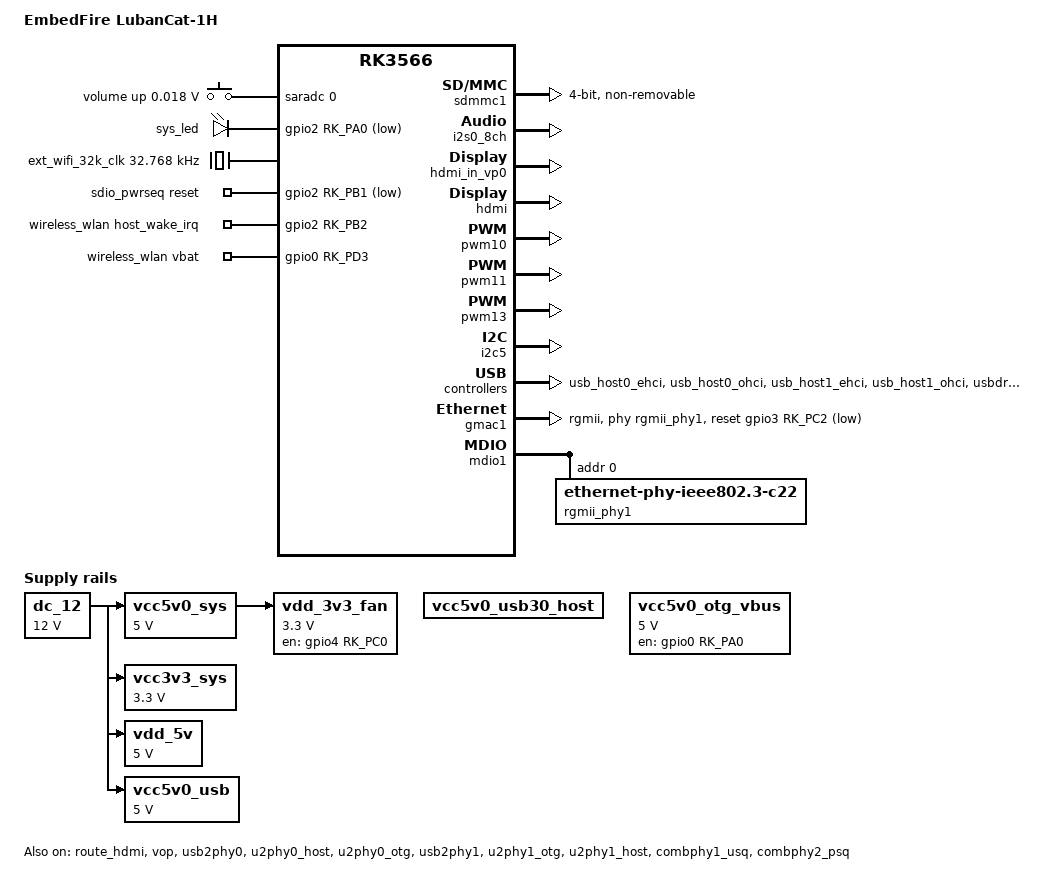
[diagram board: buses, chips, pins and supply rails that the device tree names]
// SPDX-License-Identifier: (GPL-2.0+ OR MIT)
/*
* Copyright (c) 2020 Rockchip Electronics Co., Ltd.
*
*/

/dts-v1/;

#include <dt-bindings/gpio/gpio.h>
#include <dt-bindings/pwm/pwm.h>
#include <dt-bindings/pinctrl/rockchip.h>
//#include <dt-bindings/input/rk-input.h>
#include <dt-bindings/input/linux-event-codes.h>
#include <dt-bindings/display/drm_mipi_dsi.h>
#include <dt-bindings/display/rockchip_vop.h>
#include <dt-bindings/sensor-dev.h>
#include <dt-bindings/phy/jlsemi-dt-phy.h>
#include "rk3566.dtsi"
#include "rk3566-lubancat.dtsi"

//HDMI输出
// #include "rk3566-lubancat-hdmi.dtsi"

// //MIPI摄像头配置
// #include "rk3568-lubancat-csi2-double.dtsi"

//LVDS屏幕配置
//#include "rk3566-lubancat-1h-gm8775c-lvds-800x1280.dtsi"

/ {
	model = "EmbedFire LubanCat-1H";
	compatible = "embedfire,lubancat-1h", "rockchip,rk3566";
	
	adc-keys {
		compatible = "adc-keys";
		io-channels = <&saradc 0>;
		io-channel-names = "buttons";
		poll-interval = <20>;
		keyup-threshold-microvolt = <1800000>;
		
		vol-up-key {
			linux,code = <KEY_VOLUMEUP>;
			label = "volume up";
			press-threshold-microvolt = <18000>;
		};
	};

	leds: leds {
		status = "okay";
		compatible = "gpio-leds";

		sys_led: sys-led {
			label = "sys_led";
			linux,default-trigger = "heartbeat";
			default-state = "on";
			gpios = <&gpio2 RK_PA0 GPIO_ACTIVE_LOW>;
			pinctrl-names = "default";
			pinctrl-0 = <&sys_led_pin>;
		};
	};
	
	dc_12: dc-12v {
		compatible = "regulator-fixed";
		regulator-name = "dc_12v";
		regulator-always-on;
		regulator-boot-on;
		regulator-min-microvolt = <12000000>;
		regulator-max-microvolt = <12000000>;
	};
	
	vcc5v0_sys: vcc5v0-sys {
		compatible = "regulator-fixed";
		regulator-name = "vcc5v0_sys";
		regulator-always-on;
		regulator-boot-on;
		regulator-min-microvolt = <5000000>;
		regulator-max-microvolt = <5000000>;
		vin-supply = <&dc_12>;
	};
	
	vcc3v3_sys: vcc3v3-sys {
		compatible = "regulator-fixed";
		regulator-name = "vcc3v3_sys";
		regulator-always-on;
		regulator-boot-on;
		regulator-min-microvolt = <3300000>;
		regulator-max-microvolt = <3300000>;
		vin-supply = <&dc_12>;
	};

	vdd_3v3_fan:vdd-3v3-fan {
		compatible = "regulator-fixed";
		regulator-name = "vdd-3v3-fan";
		regulator-min-microvolt = <3300000>;
		regulator-max-microvolt = <3300000>;
		enable-active-high;
		regulator-boot-on;
		regulator-always-on;
		gpio = <&gpio4 RK_PC0 GPIO_ACTIVE_HIGH>;
		vin-supply = <&vcc5v0_sys>;
		pinctrl-names = "default";
		pinctrl-0 = <&vdd_3v3_fan_en>;
	};
	
	vdd_5v: vdd-5v {
		compatible = "regulator-fixed";
		regulator-name = "vdd_5v";
		regulator-always-on;
		regulator-boot-on;
		regulator-min-microvolt = <5000000>;
		regulator-max-microvolt = <5000000>;
		vin-supply = <&dc_12>;
	};
	
	vcc5v0_usb: vcc5v0-usb {
		compatible = "regulator-fixed";
		regulator-name = "vcc5v0_usb";
		regulator-always-on;
		regulator-boot-on;
		regulator-min-microvolt = <5000000>;
		regulator-max-microvolt = <5000000>;
		vin-supply = <&dc_12>;
	};
	
	vcc5v0_usb30_host: vcc5v0-usb30-host-regulator {
		compatible = "regulator-fixed";
		enable-active-high;
		// gpio = <&gpio3 RK_PC6 GPIO_ACTIVE_HIGH>;
		// pinctrl-names = "default";
		// pinctrl-0 = <&vcc5v0_usb30_host_en>;
		regulator-name = "vcc5v0_usb30_host";
		regulator-always-on;
	};
	
	vcc5v0_otg_vbus: vcc5v0-otg-vbus-regulator {
		compatible = "regulator-fixed";
		enable-active-high;
		regulator-min-microvolt = <5000000>;
		regulator-max-microvolt = <5000000>;
		gpio = <&gpio0 RK_PA0 GPIO_ACTIVE_HIGH>;
		pinctrl-names = "default";
		pinctrl-0 = <&vcc5v0_otg_vbus_en>;
		regulator-name = "vcc5v0_otg_vbus";
	};
	
	// rk809_sound: rk809-sound {
	// 	status = "okay";
	// 	compatible = "rockchip,multicodecs-card";
	// 	rockchip,card-name = "rockchip-rk809";
	// 	hp-det-gpio = <&gpio1 RK_PB0 GPIO_ACTIVE_HIGH>;
	// 	rockchip,format = "i2s";
	// 	rockchip,mclk-fs = <256>;
	// 	rockchip,cpu = <&i2s1_8ch>;
	// 	rockchip,codec = <&rk809_codec>;
	// 	pinctrl-names = "default";
	// 	pinctrl-0 = <&hp_det>;
	// };
	
	ext_wifi_32k_clk: external-32k-clock {
		compatible = "fixed-clock";
		#clock-cells = <0>;
		clock-frequency = <32768>;
		clock-output-names = "ext_wifi_32k_clk";
	};
	
	sdio_pwrseq: sdio-pwrseq {
		compatible = "mmc-pwrseq-simple";
		clocks = <&ext_wifi_32k_clk>;
		clock-names = "ext_clock";
		pinctrl-names = "default";
		pinctrl-0 = <&wifi_enable_h>;
		
		/*
		* On the module itself this is one of these (depending
		* on the actual card populated):
		* - SDIO_RESET_L_WL_REG_ON
		* - PDN (power down when low)
		*/
		reset-gpios = <&gpio2 RK_PB1 GPIO_ACTIVE_LOW>;
	};
	
	wireless_wlan: wireless-wlan {
		compatible = "wlan-platdata";
		rockchip,grf = <&grf>;
		wifi_chip_type = "ap6255";
		pinctrl-names = "default";
		pinctrl-0 = <&wifi_host_wake_irq>;
		WIFI,host_wake_irq = <&gpio2 RK_PB2 GPIO_ACTIVE_HIGH>;
		WIFI,vbat_gpio = <&gpio0 RK_PD3 GPIO_ACTIVE_HIGH>;
		status = "okay";
	};

	hdmi_sound: hdmi-sound {
		compatible = "simple-audio-card";
		simple-audio-card,format = "i2s";
		simple-audio-card,mclk-fs = <128>;
		simple-audio-card,name = "rockchip,hdmi";
		status = "okay";

		simple-audio-card,cpu {
			sound-dai = <&i2s0_8ch>;
		};

		simple-audio-card,codec {
			sound-dai = <&hdmi>;
		};
	};
};


&sdmmc0{
	status = "disabled";
};
&sdmmc1 {
	max-frequency = <150000000>;
	supports-sdio;
	bus-width = <4>;
	disable-wp;
	cap-sd-highspeed;
	cap-sdio-irq;
	keep-power-in-suspend;
	pinctrl-names = "default";
	pinctrl-0 = <&sdmmc1_bus4 &sdmmc1_cmd &sdmmc1_clk>;
	sd-uhs-sdr104;
	mmc-pwrseq = <&sdio_pwrseq>;
	non-removable;
	status = "okay";
};



&i2s0_8ch {
	status = "okay";
};

&route_hdmi {
	status = "okay";
	connect = <&vp0_out_hdmi>;
};

&hdmi_in_vp0 {
	status = "okay";
};

&hdmi_in_vp1 {
	status = "disabled";
};

&hdmi {
	status = "okay";
};


// &i2s1_8ch {
// 	status = "okay";
// 	rockchip,trcm-sync-tx-only;
// 	pinctrl-names = "default";
// 	pinctrl-0 = <&i2s1m0_sclktx
// 	&i2s1m0_lrcktx
// 	&i2s1m0_sdi0
// 	&i2s1m0_sdo0>;
// };

&pwm10 {
	status = "okay";
};

&pwm11 {
	status = "okay";
	pinctrl-names = "active";
	pinctrl-0 = <&pwm11m1_pins>;
};

&pwm13 {
	status = "okay";
};

&xin32k {
	status = "disabled";
};

// &i2c0 {
// 	status = "okay";
// 	rk809: pmic@20 {
// 		rk809_codec: codec {
// 			pinctrl-names = "default", "spk_gpio";
// 			pinctrl-0 = <&i2s1m0_mclk>;
// 			pinctrl-1 = <&spk_ctl_gpio>;
// 			spk-ctl-gpios = <&gpio1 RK_PB1 GPIO_ACTIVE_HIGH>;
// 			status = "okay";
// 		};
		
// 		rk809_rtc:rtc{
// 			status = "disabled";
// 		};
// 	};
	
// 	hym8563: hym8563@51 {
// 		compatible = "haoyu,hym8563";
// 		status = "okay";
// 		reg = <0x51>;
// 		#clock-cells = <0>;
// 		clock-frequency = <32768>;
// 		clock-output-names = "hym8563";
// 		rtc-irq-gpio = <&gpio0 RK_PA6 IRQ_TYPE_EDGE_FALLING>;
// 	};
// };

// &dsi1 {
// 	status = "disabled";
// 	power-supply = <&mipi_dsi1_power>;
// 	#address-cells = <1>;
// 	#size-cells = <0>;
	
// 	dsi1_panel: panel@0 {
// 		status = "disabled";
// 		compatible = "simple-panel-dsi";
// 		reg = <0x0>;
// 		backlight = <&backlight0>;
// 		reset-gpios = <&gpio3 RK_PA7 GPIO_ACTIVE_LOW>;
		
// 		ports {
// 			#address-cells = <1>;
// 			#size-cells = <0>;
// 			port@0 {
// 				reg = <0>;
// 				panel_in_dsi1: endpoint {
// 					remote-endpoint = <&dsi1_out_panel>;
// 				};
// 			};
// 		};
// 	};
	
// 	ports {
// 		#address-cells = <1>;
// 		#size-cells = <0>;
		
// 		port@1 {
// 			reg = <1>;
// 			dsi1_out_panel: endpoint {
// 				remote-endpoint = <&panel_in_dsi1>;
// 			};
// 		};
// 	};
// };

// &i2c5 {
// 	status = "okay";
// 	clock-frequency = <100000>;
	
// 	gt911_edp: gt911@5d {
// 		status = "okay";
// 		compatible = "goodix,gt911";
// 		reg = <0x5d>;
// 		interrupt-parent = <&gpio3>;
// 		interrupts = <RK_PB7 IRQ_TYPE_LEVEL_LOW>;
// 		reset-gpios = <&gpio3 RK_PC1 GPIO_ACTIVE_LOW>;
// 		irq-gpios = <&gpio3 RK_PB7 GPIO_ACTIVE_HIGH>;
// 	};
// };

// &uart0 {
// 	status = "okay";
// };

// &uart3 {
// 	status = "okay";
// };

// &uart4 {
// 	status = "okay";
// 	pinctrl-names = "default";
// 	pinctrl-0 = <&uart4m1_xfer>;
// };

// &uart5 {
// 	status = "okay";
// 	pinctrl-names = "default";
// 	pinctrl-0 = <&uart5m1_xfer>;
// };

// &uart7 {
// 	status = "okay";
// 	pinctrl-names = "default";
// 	pinctrl-0 = <&uart7m1_xfer>;
// };

// &uart9 {
// 	status = "okay";
// 	pinctrl-names = "default";
// 	pinctrl-0 = <&uart9m1_xfer>;
// };

// &i2c1 {
// 	status = "okay";
// 	clock-frequency = <100000>;
	
// 	gt911_dsi1: gt911@5d {
// 		status = "disabled";
// 		compatible = "goodix,gt911";
// 		reg = <0x5d>;
// 		interrupt-parent = <&gpio3>;
// 		interrupts = <RK_PA6 IRQ_TYPE_LEVEL_LOW>;
// 		reset-gpios = <&gpio3 RK_PA5 GPIO_ACTIVE_LOW>;
// 		irq-gpios = <&gpio3 RK_PA6 GPIO_ACTIVE_HIGH>;
// 		touchscreen-inverted-x = <1>;
// 		touchscreen-inverted-y = <1>;
// 	};
	
// 	gt928_dsi1: gt928@5d {
// 		status = "disabled";
// 		compatible = "goodix,gt928";
// 		reg = <0x5d>;
// 		interrupt-parent = <&gpio3>;
// 		interrupts = <RK_PA6 IRQ_TYPE_LEVEL_LOW>;
// 		reset-gpios = <&gpio3 RK_PA5 GPIO_ACTIVE_LOW>;
// 		irq-gpios = <&gpio3 RK_PA6 GPIO_ACTIVE_HIGH>;
// 	};
	
// 	rockpi_mcu_1: rockpi-mcu-1@45 {
// 		compatible = "rockpi_mcu";
// 		reg = <0x45>;
// 		status = "disabled";
// 	};
	
// 	rockpi_ft5406_1: rockpi_ft5406-1@38 {
// 		compatible = "rockpi_ft5406";
// 		reg = <0x38>;
// 		status = "disabled";
// 	};
// };

// //cam0-gpio-setting
// &ov8858 {
// 	pwdn-gpios = <&gpio3 RK_PA1 GPIO_ACTIVE_HIGH>;
// 	reset-gpios = <&gpio3 RK_PA2 GPIO_ACTIVE_HIGH>;
// };

// &imx415 {
// 	pwdn-gpios = <&gpio3 RK_PA1 GPIO_ACTIVE_HIGH>;
// 	reset-gpios = <&gpio3 RK_PA2 GPIO_ACTIVE_LOW>;
// };

// &gc08a8 {
// 	pwdn-gpios = <&gpio3 RK_PA1 GPIO_ACTIVE_HIGH>;
// 	reset-gpios = <&gpio3 RK_PA2 GPIO_ACTIVE_LOW>;
// };

// &gc2053 {
// 	pwdn-gpios = <&gpio3 RK_PA1 GPIO_ACTIVE_LOW>;
// 	reset-gpios = <&gpio3 RK_PA2 GPIO_ACTIVE_LOW>;
// };

// &gc4653 {
// 	pwdn-gpios = <&gpio3 RK_PA1 GPIO_ACTIVE_HIGH>;
// 	reset-gpios = <&gpio3 RK_PA2 GPIO_ACTIVE_HIGH>;
// };

// //cam1-gpio-setting
// &cam1_ov8858 {
// 	pwdn-gpios = <&gpio3 RK_PA3 GPIO_ACTIVE_HIGH>;
// 	reset-gpios = <&gpio3 RK_PA4 GPIO_ACTIVE_HIGH>;
// };

&i2c5{
	pinctrl-names = "default";
	pinctrl-0 = <&i2c5m0_xfer>;
	status = "okay";
};

&i2s0_8ch {
	status = "okay";
};

&pmu_io_domains {
	status = "okay";
	pmuio2-supply = <&vcc3v3_pmu>;
	vccio1-supply = <&vccio_acodec>;
	vccio3-supply = <&vccio_sd>;
	vccio4-supply = <&vcc_1v8>;
	vccio5-supply = <&vcc_3v3>;
	vccio6-supply = <&vcc_1v8>;
	vccio7-supply = <&vcc_1v8>;
};

&vop {
	status = "okay";
	assigned-clocks = <&cru DCLK_VOP0>, <&cru DCLK_VOP1>;
	assigned-clock-parents = <&pmucru PLL_HPLL>, <&cru PLL_VPLL>;
};

&vop_mmu {
	status = "okay";
};

/* USB OTG/USB Host_1 USB 2.0 Comb */
&usb2phy0 {
	status = "okay";
};

&u2phy0_host {
	phy-supply = <&vcc5v0_usb30_host>;
	status = "okay";
};

&u2phy0_otg {
	vbus-supply = <&vcc5v0_otg_vbus>;
	status = "okay";
};

&usb_host0_ehci {
	status = "okay";
};

&usb_host0_ohci {
	status = "okay";
};

/* USB Host_2/USB Host_3 USB 2.0 Comb */
&usb2phy1 {
	status = "okay";
};

&u2phy1_otg {
	phy-supply = <&vcc5v0_usb>;
	status = "okay";
};

&u2phy1_host {
	phy-supply = <&vcc5v0_usb>;
	status = "okay";
};

&usb_host1_ehci {
	status = "okay";
};

&usb_host1_ohci {
	status = "okay";
};

/* USB3.0 OTG Only USB2.0 */
&usbdrd30 {
	status = "okay";
};

&usbdrd_dwc3 {
	status = "okay";
};

/* USB3.0 Host */
&combphy1_usq {
	status = "okay";
};

&usbhost30 {
	status = "okay";
};

&usbhost_dwc3 {
	status = "okay";
};

&gmac1 {
	phy-mode = "rgmii";
	clock_in_out = "output";
	
	snps,reset-gpio = <&gpio3 RK_PC2 GPIO_ACTIVE_LOW>;
	snps,reset-active-low;
	/* Reset time is 75ms, 100ms */
	snps,reset-delays-us = <0 75000 100000>;
	
	assigned-clocks = <&cru SCLK_GMAC1_RX_TX>, <&cru SCLK_GMAC1>;
	assigned-clock-parents = <&cru SCLK_GMAC1_RGMII_SPEED>, <&cru CLK_MAC1_2TOP>;
	assigned-clock-rates = <0>, <125000000>;
	
	pinctrl-names = "default";
	pinctrl-0 = <&gmac1m1_miim
	&gmac1m1_tx_bus2
	&gmac1m1_rx_bus2
	&gmac1m1_rgmii_clk
	&gmac1m1_rgmii_bus>;
	
	/* RTL8211F */
	tx_delay = <0x4f>;
	rx_delay = <0x25>;
	
	/* JL2101 */
	// tx_delay = <0x22>;
	// rx_delay = <0x07>;
	
	phy-handle = <&rgmii_phy1>;
	status = "okay";
};

&mdio1 {
	rgmii_phy1: phy@0 {
		compatible = "ethernet-phy-ieee802.3-c22";
		reg = <0x0>;
		// jl2xxx,led-enable = <(JL2XXX_LED_STATIC_OP_EN | JL1XXX_LED_MODE_EN)>;
		// jl2xxx,led-mode = <(JL2XXX_LED1_LINK10  | \
		// JL2XXX_LED1_LINK100  | \
		// JL2XXX_LED1_LINK1000 | \
		// JL2XXX_LED2_LINK10   | \
		// JL2XXX_LED2_LINK100  | \
		// JL2XXX_LED2_LINK1000 | \
		// JL2XXX_LED2_ACTIVITY )>;
	};
};

// /* mini pcie */
// &pcie2x1 {
// 	reset-gpios = <&gpio0 RK_PB6 GPIO_ACTIVE_HIGH>;
// 	disable-gpios = <&gpio0 RK_PB2 GPIO_ACTIVE_HIGH>;
// 	vpcie3v3-supply = <&mini_pcie_3v3>;
// 	status = "okay";
// };

&combphy2_psq {
	status = "okay";
};

&rockchip_suspend {
	status = "okay";
};

&pinctrl {
	
	// cam {
	// 	cam_pwr_en: cam_pwr_en {
	// 		rockchip,pins = <3 RK_PD2 RK_FUNC_GPIO &pcfg_pull_none>;
	// 	};
		
	// 	cam1_pwr_en: cam1_pwr_en {
	// 		rockchip,pins = <3 RK_PD3 RK_FUNC_GPIO &pcfg_pull_none>;
	// 	};
	// };
	
	// pmic {
	// 	spk_ctl_gpio: spk_ctl_gpio {
	// 		rockchip,pins = <1 RK_PB1 RK_FUNC_GPIO &pcfg_pull_up>;
	// 	};
	// };
	
	// headphone {
	// 	hp_det: hp-det {
	// 		rockchip,pins = <1 RK_PB0 RK_FUNC_GPIO &pcfg_pull_none>;
	// 	};
	// };
	
	usb {
		vcc5v0_usb30_host_en: vcc5v0-usb30-host-en {
			rockchip,pins = <3 RK_PC6 RK_FUNC_GPIO &pcfg_pull_none>;
		};
		
		vcc5v0_otg_vbus_en: vcc5v0-otg-vbus-en {
			rockchip,pins = <0 RK_PA0 RK_FUNC_GPIO &pcfg_pull_none>;
		};
	};
	
	spi_pins {
		spi3_cs0: spi3-cs0 {
			rockchip,pins = <4 RK_PC6 RK_FUNC_GPIO &pcfg_pull_up_drv_level_1>;
		};
		
		spi3_cs1: spi3-cs1 {
			rockchip,pins = <4 RK_PC4 RK_FUNC_GPIO &pcfg_pull_up_drv_level_1>;
		};
	};

	vdd_3v3_fan_pin{
		vdd_3v3_fan_en:vdd-3v3-fan-en{
			rockchip,pins = <4 RK_PC0 RK_FUNC_GPIO &pcfg_pull_none>;
		};
	};
	
	// lcd {
	// 	mipi_dsi1_pwr_en: mipi-dsi1-pwr-en {
	// 		rockchip,pins = <3 RK_PD1 RK_FUNC_GPIO &pcfg_pull_none>;
	// 	};
	// };
	
	leds {
		sys_led_pin: sys-led-pin {
			rockchip,pins = <2 RK_PA0 RK_FUNC_GPIO &pcfg_pull_none>;
		};
	};
		
	// 	blue_led_pin: blue-led-pin {
	// 		rockchip,pins = <2 RK_PC0 RK_FUNC_GPIO &pcfg_pull_none>;
	// 	};
		
	// 	red_led_pin: red-led-pin {
	// 		rockchip,pins = <2 RK_PB7 RK_FUNC_GPIO &pcfg_pull_none>;
	// 	};
	// };
	
	sdio-pwrseq {
		wifi_enable_h: wifi-enable-h {
			rockchip,pins = <2 RK_PB1 RK_FUNC_GPIO &pcfg_pull_none>;
		};
	};
	
	wireless-wlan {
		wifi_host_wake_irq: wifi-host-wake-irq {
			rockchip,pins = <2 RK_PB2 RK_FUNC_GPIO &pcfg_pull_down>;
		};
	};
};
